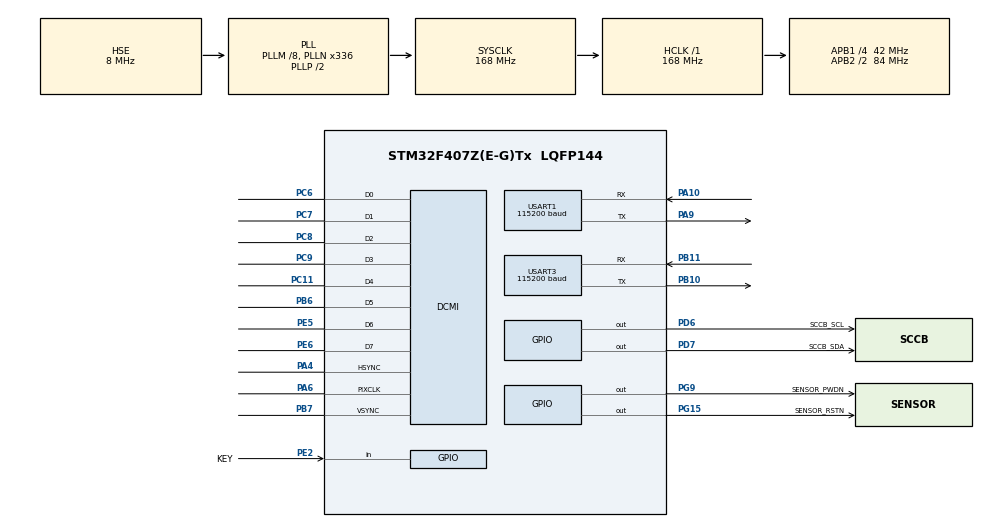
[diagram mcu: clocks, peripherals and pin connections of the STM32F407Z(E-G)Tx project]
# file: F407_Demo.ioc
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DCMI.JPEGMode=DCMI_JPEG_ENABLE
DCMI.PCKPolarity=DCMI_PCKPOLARITY_RISING
Dma.DCMI.0.Direction=DMA_PERIPH_TO_MEMORY
Dma.DCMI.0.FIFOMode=DMA_FIFOMODE_ENABLE
Dma.DCMI.0.FIFOThreshold=DMA_FIFO_THRESHOLD_FULL
Dma.DCMI.0.Instance=DMA2_Stream1
Dma.DCMI.0.MemBurst=DMA_MBURST_SINGLE
Dma.DCMI.0.MemDataAlignment=DMA_MDATAALIGN_WORD
Dma.DCMI.0.MemInc=DMA_MINC_ENABLE
Dma.DCMI.0.Mode=DMA_NORMAL
Dma.DCMI.0.PeriphBurst=DMA_PBURST_SINGLE
Dma.DCMI.0.PeriphDataAlignment=DMA_PDATAALIGN_WORD
Dma.DCMI.0.PeriphInc=DMA_PINC_DISABLE
Dma.DCMI.0.Priority=DMA_PRIORITY_LOW
Dma.Request0=DCMI
Mcu.Family=STM32F4
Mcu.Name=STM32F407Z(E-G)Tx
Mcu.Package=LQFP144
NVIC.DCMI_IRQn=true\:5\:0\:true\:false\:true\:true\:true\:true
NVIC.DMA2_Stream1_IRQn=true\:2\:0\:true\:false\:true\:false\:true\:true
NVIC.PriorityGroup=NVIC_PRIORITYGROUP_4
PA10.Mode=Asynchronous
PA10.Signal=USART1_RX
PA4.Mode=Slave_8_bits_External_Synchro
PA4.Signal=DCMI_HSYNC
PA6.Mode=Slave_8_bits_External_Synchro
PA6.Signal=DCMI_PIXCLK
PA9.Mode=Asynchronous
PA9.Signal=USART1_TX
PB10.Mode=Asynchronous
PB10.Signal=USART3_TX
PB11.Mode=Asynchronous
PB11.Signal=USART3_RX
PB6.Mode=Slave_8_bits_External_Synchro
PB6.Signal=DCMI_D5
PB7.Mode=Slave_8_bits_External_Synchro
PB7.Signal=DCMI_VSYNC
PC11.Mode=Slave_8_bits_External_Synchro
PC11.Signal=DCMI_D4
PC14-OSC32_IN.Mode=LSE-External-Oscillator
PC14-OSC32_IN.Signal=RCC_OSC32_IN
PC15-OSC32_OUT.Mode=LSE-External-Oscillator
PC15-OSC32_OUT.Signal=RCC_OSC32_OUT
PC6.Mode=Slave_8_bits_External_Synchro
PC6.Signal=DCMI_D0
PC7.Mode=Slave_8_bits_External_Synchro
PC7.Signal=DCMI_D1
PC8.Mode=Slave_8_bits_External_Synchro
PC8.Signal=DCMI_D2
PC9.Mode=Slave_8_bits_External_Synchro
PC9.Signal=DCMI_D3
PD6.GPIO_Label=SCCB_SCL
PD6.GPIO_PuPd=GPIO_PULLUP
PD6.GPIO_Speed=GPIO_SPEED_FREQ_VERY_HIGH
PD6.Signal=GPIO_Output
PD7.GPIO_Label=SCCB_SDA
PD7.GPIO_PuPd=GPIO_PULLUP
PD7.GPIO_Speed=GPIO_SPEED_FREQ_VERY_HIGH
PD7.Signal=GPIO_Output
PE2.GPIO_Label=KEY
PE2.GPIO_PuPd=GPIO_PULLUP
PE2.Signal=GPIO_Input
PE5.Mode=Slave_8_bits_External_Synchro
PE5.Signal=DCMI_D6
PE6.Mode=Slave_8_bits_External_Synchro
PE6.Signal=DCMI_D7
PG15.GPIO_Label=SENSOR_RSTN
PG15.Signal=GPIO_Output
PG9.GPIO_Label=SENSOR_PWDN
PG9.Signal=GPIO_Output
PH0-OSC_IN.Mode=HSE-External-Oscillator
PH0-OSC_IN.Signal=RCC_OSC_IN
PH1-OSC_OUT.Mode=HSE-External-Oscillator
PH1-OSC_OUT.Signal=RCC_OSC_OUT
ProjectManager.HeapSize=0x200
ProjectManager.StackSize=0x400
ProjectManager.TargetToolchain=MDK-ARM V5.32
RCC.48MHZClocksFreq_Value=84000000
RCC.AHBFreq_Value=168000000
RCC.APB1CLKDivider=RCC_HCLK_DIV4
RCC.APB1Freq_Value=42000000
RCC.APB1TimFreq_Value=84000000
RCC.APB2CLKDivider=RCC_HCLK_DIV2
RCC.APB2Freq_Value=84000000
RCC.APB2TimFreq_Value=168000000
RCC.CortexFreq_Value=168000000
RCC.HCLKFreq_Value=168000000
RCC.HSE_VALUE=8000000
RCC.HSI_VALUE=16000000
RCC.PLLM=8
RCC.PLLN=336
RCC.PLLSourceVirtual=RCC_PLLSOURCE_HSE
RCC.RCC_RTC_Clock_Source=RCC_RTCCLKSOURCE_LSE
RCC.RCC_RTC_Clock_SourceVirtual=RCC_RTCCLKSOURCE_LSE
RCC.SYSCLKFreq_VALUE=168000000
RCC.SYSCLKSource=RCC_SYSCLKSOURCE_PLLCLK
RCC.VCOOutputFreq_Value=336000000
RTC.Date=11
RTC.Hours=16
RTC.Month=RTC_MONTH_OCTOBER
RTC.WeekDay=RTC_WEEKDAY_SUNDAY
RTC.Year=23
USART1.BaudRate=115200
USART1.VirtualMode=VM_ASYNC
USART3.BaudRate=115200
USART3.VirtualMode=VM_ASYNC
VP_RTC_VS_RTC_Activate.Mode=RTC_Enabled
VP_RTC_VS_RTC_Calendar.Mode=RTC_Calendar
board=custom

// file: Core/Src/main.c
/* USER CODE BEGIN Header */
/**
  ******************************************************************************
  * @file           : main.c
  * @brief          : Main program body
  ******************************************************************************
  * @attention
  *
  * Copyright (c) 2023 STMicroelectronics.
  * All rights reserved.
  *
  * This software is licensed under terms that can be found in the LICENSE file
  * in the root directory of this software component.
  * If no LICENSE file comes with this software, it is provided AS-IS.
  *
  ******************************************************************************
  */
/* USER CODE END Header */
#include "main.h"
#include "dcmi.h"
#include "dma.h"
#include "rtc.h"
#include "usart.h"
#include "gpio.h"

/* USER CODE BEGIN Includes */
#include "string.h"
#include "stdio.h"
#include "OV2640.h"
/* USER CODE END Includes */

/* USER CODE BEGIN PTD */
extern DCMI_HandleTypeDef hdcmi;
extern UART_HandleTypeDef huart1;

HAL_StatusTypeDef status;
RTC_TimeTypeDef   sTime;
RTC_DateTypeDef   sDate;
/* USER CODE END PTD */

void SystemClock_Config(void);

/* USER CODE BEGIN 0 */
int fputc(int ch, FILE *f)
{
    HAL_UART_Transmit(&huart1, (uint8_t *)&ch, 1, 0xFFFF);
    return ch;
}

uint8_t Key_Scan(GPIO_TypeDef* GPIOx, uint16_t GPIO_Pin)
{
    if (HAL_GPIO_ReadPin(GPIOx, GPIO_Pin) == RESET ) {
        while (HAL_GPIO_ReadPin(GPIOx, GPIO_Pin) == RESET);
        return  RESET;
    } else
        return SET;
}

/* USER CODE END 0 */

int main(void)
{

  /* MCU Configuration--------------------------------------------------------*/

  /* Reset of all peripherals, Initializes the Flash interface and the Systick. */
  HAL_Init();

  /* Configure the system clock */
  SystemClock_Config();

  /* Initialize all configured peripherals */
  MX_GPIO_Init();
  MX_DMA_Init();
  MX_DCMI_Init();
  MX_RTC_Init();
  MX_USART1_UART_Init();
  MX_USART3_UART_Init();
  /* USER CODE BEGIN 2 */
	Sensor_HWReset();

  OV2640_SoftReset();

  if(OV2640_Init() == 0)
  {
    printf("OV2640 Init OK\r\n");
		HAL_Delay(2000);
		printf("Press Key2 to Capture IMG\r\n");
  }
	else
		printf("OV2640 Init Fail\r\n");
  /* USER CODE END 2 */

  /* Infinite loop */
  /* USER CODE BEGIN WHILE */
  while (1)
  {
    // get the current time
    status = HAL_RTC_GetTime(&hrtc, &sTime, RTC_FORMAT_BIN);
    if(status != HAL_OK)
      printf("RTC Get Time error!\r\n");

    status = HAL_RTC_GetDate(&hrtc, &sDate, RTC_FORMAT_BIN);
    if(status != HAL_OK)
      printf("RTC Get Date error!\r\n");

    // 1 Hour to capture a image
    // if((sTime.Minutes == 0 && sTime.Seconds == 0) || (Key_Scan(KEY_GPIO_Port, KEY_Pin) == RESET))
    if(Key_Scan(KEY_GPIO_Port, KEY_Pin) == RESET)
    {
      printf("capture time : %d:%d:%d\r\n", sTime.Hours, sTime.Minutes, sTime.Seconds);
      StartOV2640();
    }
    // else
    //   printf("waiting, Minutes = %d\r\n", sTime.Minutes);

    HAL_Delay(1000);
    /* USER CODE END WHILE */

  }
}

void SystemClock_Config(void)
{
  RCC_OscInitTypeDef RCC_OscInitStruct = {0};
  RCC_ClkInitTypeDef RCC_ClkInitStruct = {0};

  /** Configure the main internal regulator output voltage
  */
  __HAL_RCC_PWR_CLK_ENABLE();
  __HAL_PWR_VOLTAGESCALING_CONFIG(PWR_REGULATOR_VOLTAGE_SCALE1);

  /** Initializes the RCC Oscillators according to the specified parameters
  * in the RCC_OscInitTypeDef structure.
  */
  RCC_OscInitStruct.OscillatorType = RCC_OSCILLATORTYPE_HSE|RCC_OSCILLATORTYPE_LSE;
  RCC_OscInitStruct.HSEState = RCC_HSE_ON;
  RCC_OscInitStruct.LSEState = RCC_LSE_ON;
  RCC_OscInitStruct.PLL.PLLState = RCC_PLL_ON;
  RCC_OscInitStruct.PLL.PLLSource = RCC_PLLSOURCE_HSE;
  RCC_OscInitStruct.PLL.PLLM = 8;
  RCC_OscInitStruct.PLL.PLLN = 336;
  RCC_OscInitStruct.PLL.PLLP = RCC_PLLP_DIV2;
  RCC_OscInitStruct.PLL.PLLQ = 4;
  if (HAL_RCC_OscConfig(&RCC_OscInitStruct) != HAL_OK)
  {
    Error_Handler();
  }

  /** Initializes the CPU, AHB and APB buses clocks
  */
  RCC_ClkInitStruct.ClockType = RCC_CLOCKTYPE_HCLK|RCC_CLOCKTYPE_SYSCLK
                              |RCC_CLOCKTYPE_PCLK1|RCC_CLOCKTYPE_PCLK2;
  RCC_ClkInitStruct.SYSCLKSource = RCC_SYSCLKSOURCE_PLLCLK;
  RCC_ClkInitStruct.AHBCLKDivider = RCC_SYSCLK_DIV1;
  RCC_ClkInitStruct.APB1CLKDivider = RCC_HCLK_DIV4;
  RCC_ClkInitStruct.APB2CLKDivider = RCC_HCLK_DIV2;

  if (HAL_RCC_ClockConfig(&RCC_ClkInitStruct, FLASH_LATENCY_5) != HAL_OK)
  {
    Error_Handler();
  }
}

void Error_Handler(void)
{
  __disable_irq();
  while (1)
  {
  }
}
